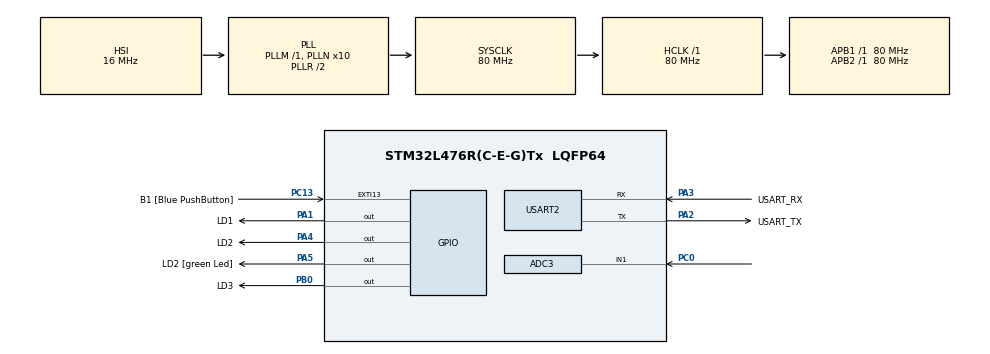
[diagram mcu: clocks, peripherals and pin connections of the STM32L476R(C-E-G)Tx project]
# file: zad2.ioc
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ADC3.Channel-1\#ChannelRegularConversion=ADC_CHANNEL_1
ADC3.NbrOfConversionFlag=1
ADC3.OffsetNumber-1\#ChannelRegularConversion=ADC_OFFSET_NONE
ADC3.Rank-1\#ChannelRegularConversion=1
ADC3.SamplingTime-1\#ChannelRegularConversion=ADC_SAMPLETIME_2CYCLES_5
Mcu.Family=STM32L4
Mcu.Name=STM32L476R(C-E-G)Tx
Mcu.Package=LQFP64
NVIC.PriorityGroup=NVIC_PRIORITYGROUP_4
PA1.GPIO_Label=LD1
PA1.Signal=GPIO_Output
PA13\ (JTMS-SWDIO).GPIO_Label=TMS
PA13\ (JTMS-SWDIO).Mode=Serial_Wire
PA13\ (JTMS-SWDIO).Signal=SYS_JTMS-SWDIO
PA14\ (JTCK-SWCLK).GPIO_Label=TCK
PA14\ (JTCK-SWCLK).Mode=Serial_Wire
PA14\ (JTCK-SWCLK).Signal=SYS_JTCK-SWCLK
PA2.GPIO_Label=USART_TX
PA2.GPIO_Mode=GPIO_MODE_AF_PP
PA2.GPIO_PuPd=GPIO_NOPULL
PA2.GPIO_Speed=GPIO_SPEED_FREQ_VERY_HIGH
PA2.Mode=Asynchronous
PA2.Signal=USART2_TX
PA3.GPIO_Label=USART_RX
PA3.GPIO_Mode=GPIO_MODE_AF_PP
PA3.GPIO_PuPd=GPIO_NOPULL
PA3.GPIO_Speed=GPIO_SPEED_FREQ_VERY_HIGH
PA3.Mode=Asynchronous
PA3.Signal=USART2_RX
PA4.GPIO_Label=LD2
PA4.Signal=GPIO_Output
PA5.GPIO_Label=LD2 [green Led]
PA5.GPIO_ModeDefaultOutputPP=GPIO_MODE_OUTPUT_PP
PA5.GPIO_PuPd=GPIO_NOPULL
PA5.GPIO_Speed=GPIO_SPEED_FREQ_LOW
PA5.Signal=GPIO_Output
PB0.GPIO_Label=LD3
PB0.Signal=GPIO_Output
PB3\ (JTDO-TRACESWO).GPIO_Label=SWO
PB3\ (JTDO-TRACESWO).Signal=SYS_JTDO-SWO
PC0.Signal=ADCx_IN1
PC13.GPIO_Label=B1 [Blue PushButton]
PC13.GPIO_ModeDefaultEXTI=GPIO_MODE_IT_FALLING
PC13.GPIO_PuPd=GPIO_NOPULL
PC13.Signal=GPXTI13
PC14-OSC32_IN\ (PC14).Mode=LSE-External-Oscillator
PC14-OSC32_IN\ (PC14).Signal=RCC_OSC32_IN
PC15-OSC32_OUT\ (PC15).Mode=LSE-External-Oscillator
PC15-OSC32_OUT\ (PC15).Signal=RCC_OSC32_OUT
PH0-OSC_IN\ (PH0).Signal=RCC_OSC_IN
PH1-OSC_OUT\ (PH1).Signal=RCC_OSC_OUT
ProjectManager.HeapSize=0x200
ProjectManager.StackSize=0x400
ProjectManager.TargetToolchain=STM32CubeIDE
RCC.ADCFreq_Value=64000000
RCC.AHBFreq_Value=80000000
RCC.APB1Freq_Value=80000000
RCC.APB1TimFreq_Value=80000000
RCC.APB2Freq_Value=80000000
RCC.APB2TimFreq_Value=80000000
RCC.CortexFreq_Value=80000000
RCC.HCLKFreq_Value=80000000
RCC.HSE_VALUE=8000000
RCC.HSI_VALUE=16000000
RCC.MSI_VALUE=4000000
RCC.PLLN=10
RCC.PLLSourceVirtual=RCC_PLLSOURCE_HSI
RCC.PREFETCH_ENABLE=1
RCC.SYSCLKFreq_VALUE=80000000
RCC.SYSCLKSource=RCC_SYSCLKSOURCE_PLLCLK
RCC.USBFreq_Value=64000000
RCC.VCOOutputFreq_Value=160000000
SH.ADCx_IN1.0=ADC3_IN1,IN1-Single-Ended
USART2.VirtualMode-Asynchronous=VM_ASYNC
board=NUCLEO-L476RG

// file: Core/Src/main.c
/* USER CODE BEGIN Header */
/**
  ******************************************************************************
  * @file           : main.c
  * @brief          : Main program body
  ******************************************************************************
  * @attention
  *
  * Copyright (c) 2025 STMicroelectronics.
  * All rights reserved.
  *
  * This software is licensed under terms that can be found in the LICENSE file
  * in the root directory of this software component.
  * If no LICENSE file comes with this software, it is provided AS-IS.
  *
  ******************************************************************************
  */
/* USER CODE END Header */
#include "main.h"
#include "adc.h"
#include "usart.h"
#include "gpio.h"

/* USER CODE BEGIN PV */
uint32_t adc_raw = 0;
uint32_t adc_mv = 0;
/* USER CODE END PV */

void SystemClock_Config(void);

/* USER CODE BEGIN 0 */
uint32_t ADC3_Read(void)
{
    HAL_ADC_Start(&hadc3);                                     // Start ADC
    HAL_ADC_PollForConversion(&hadc3, HAL_MAX_DELAY);          // Wait
    uint32_t value = HAL_ADC_GetValue(&hadc3);                 // Read
    HAL_ADC_Stop(&hadc3);                                      // Stop
    return value;
}

uint32_t ADC_To_mV(uint32_t adc_value)
{
    return (adc_value * 3300) / 4095;
}

void LED_Line_Update(uint32_t voltage_mv)
{
    HAL_GPIO_WritePin(LD1_GPIO_Port, LD1_Pin, GPIO_PIN_RESET);
    HAL_GPIO_WritePin(LD2_GPIO_Port, LD2_Pin, GPIO_PIN_RESET);
    HAL_GPIO_WritePin(LD3_GPIO_Port, LD3_Pin, GPIO_PIN_RESET);

    if (voltage_mv > 3000)
            HAL_GPIO_WritePin(LD3_GPIO_Port, LD3_Pin, GPIO_PIN_SET);

    if (voltage_mv >= 2000)
           HAL_GPIO_WritePin(LD2_GPIO_Port, LD2_Pin, GPIO_PIN_SET);

    if (voltage_mv >= 1000)
        HAL_GPIO_WritePin(LD1_GPIO_Port, LD1_Pin, GPIO_PIN_SET);

}

/* USER CODE END 0 */

int main(void)
{

  /* MCU Configuration--------------------------------------------------------*/

  /* Reset of all peripherals, Initializes the Flash interface and the Systick. */
  HAL_Init();

  /* Configure the system clock */
  SystemClock_Config();

  /* Initialize all configured peripherals */
  MX_GPIO_Init();
  MX_USART2_UART_Init();
  MX_ADC3_Init();

  /* Infinite loop */
  /* USER CODE BEGIN WHILE */
  while (1)
  {
	adc_raw = ADC3_Read();
	adc_mv  = ADC_To_mV(adc_raw);
	LED_Line_Update(adc_mv);
	HAL_Delay(50);
    /* USER CODE END WHILE */

  }
}

void SystemClock_Config(void)
{
  RCC_OscInitTypeDef RCC_OscInitStruct = {0};
  RCC_ClkInitTypeDef RCC_ClkInitStruct = {0};

  /** Configure the main internal regulator output voltage
  */
  if (HAL_PWREx_ControlVoltageScaling(PWR_REGULATOR_VOLTAGE_SCALE1) != HAL_OK)
  {
    Error_Handler();
  }

  /** Initializes the RCC Oscillators according to the specified parameters
  * in the RCC_OscInitTypeDef structure.
  */
  RCC_OscInitStruct.OscillatorType = RCC_OSCILLATORTYPE_HSI;
  RCC_OscInitStruct.HSIState = RCC_HSI_ON;
  RCC_OscInitStruct.HSICalibrationValue = RCC_HSICALIBRATION_DEFAULT;
  RCC_OscInitStruct.PLL.PLLState = RCC_PLL_ON;
  RCC_OscInitStruct.PLL.PLLSource = RCC_PLLSOURCE_HSI;
  RCC_OscInitStruct.PLL.PLLM = 1;
  RCC_OscInitStruct.PLL.PLLN = 10;
  RCC_OscInitStruct.PLL.PLLP = RCC_PLLP_DIV7;
  RCC_OscInitStruct.PLL.PLLQ = RCC_PLLQ_DIV2;
  RCC_OscInitStruct.PLL.PLLR = RCC_PLLR_DIV2;
  if (HAL_RCC_OscConfig(&RCC_OscInitStruct) != HAL_OK)
  {
    Error_Handler();
  }

  /** Initializes the CPU, AHB and APB buses clocks
  */
  RCC_ClkInitStruct.ClockType = RCC_CLOCKTYPE_HCLK|RCC_CLOCKTYPE_SYSCLK
                              |RCC_CLOCKTYPE_PCLK1|RCC_CLOCKTYPE_PCLK2;
  RCC_ClkInitStruct.SYSCLKSource = RCC_SYSCLKSOURCE_PLLCLK;
  RCC_ClkInitStruct.AHBCLKDivider = RCC_SYSCLK_DIV1;
  RCC_ClkInitStruct.APB1CLKDivider = RCC_HCLK_DIV1;
  RCC_ClkInitStruct.APB2CLKDivider = RCC_HCLK_DIV1;

  if (HAL_RCC_ClockConfig(&RCC_ClkInitStruct, FLASH_LATENCY_4) != HAL_OK)
  {
    Error_Handler();
  }
}

void Error_Handler(void)
{
  __disable_irq();
  while (1)
  {
  }
}
